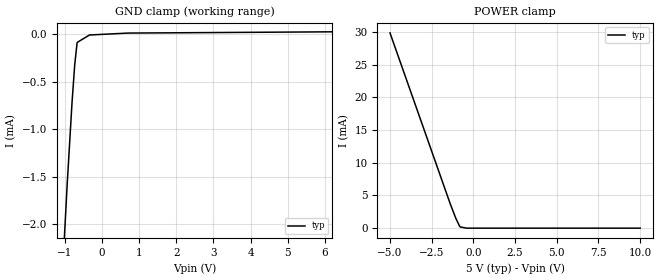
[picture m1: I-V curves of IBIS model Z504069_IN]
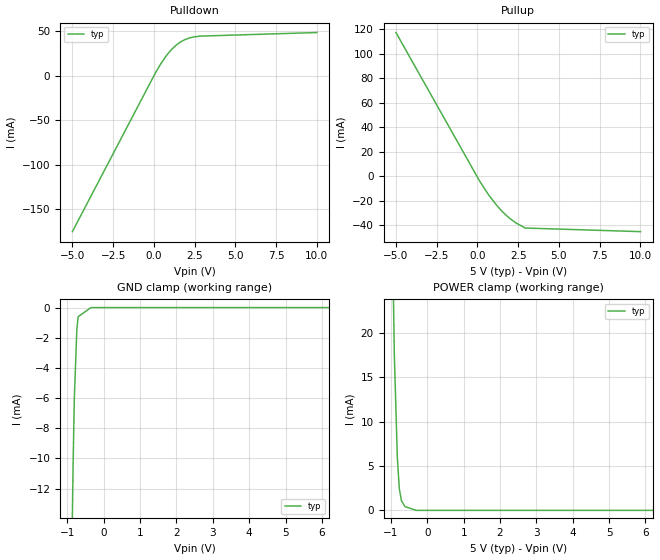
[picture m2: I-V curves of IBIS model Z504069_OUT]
| YOU ARE ONLY AUTHORIZED TO USE THIS SOFTWARE
| ACCORDING TO LICENSOR'S LICENSE RESTRICTIONS.
[IBIS Ver] 3.1
[File Name] mc54hc161aj.ibs
[File Rev] 2.0
[Source] Measured and created by ICX Technology
[Date] Friday 7/14/00 9:08:06 AM
[Copyright]
| (C) COPYRIGHT 1993-2000
| MENTOR GRAPHICS CORPORATION
| ICX STANDARD LIBRARY, ICX PROJECT MODELING,
| ICX CUSTOM MODELING, ICX VENDOR MODEL
| ALL RIGHTS RESERVED.
| THE FOLLOWING ARE TRADEMARKS OR SERVICE MARKS OF
| MENTOR GRAPHICS CORPORATION:ICX (R), ICX STANDARD
| LIBRARY(R), ICX PROJECT MODELING(R), ICX CUSTOM
| MODELING(R), qualityIBIS(TM), MODELVIEWER(TM),
| AND MODELEDITOR(TM)
| ALL COPIES OF SOFTWARE, INCLUDING BUT NOT LIMITED TO
| ANY MODIFICATIONS, ENHANCEMENTS OR DERIVATIVE WORKS,
| MUST CONTAIN ALL MENTOR GRAPHICS CORPORATION'S
| NOTICES AND LEGENDS, INCLUDING THOSE EMBEDDED IN
| SOFTWARE AND THOSE AFFIXED TO SOFTWARE MEDIUM
| AND CONTAINER, AS RECEIVED FROM MENTOR GRAPHICS
| CORPORATION.
|  ZAP Model Builder 2.7
[Component] MC54HC161AJ
[Manufacturer] OnSemiconductor
[Package]
| variable   typ   min   max
R_pkg  .212ohms NA NA
L_pkg  4.758nH NA NA
C_pkg  1.944pF NA NA
[Pin] signal_name  model_name  R_pin  L_pin C_pin
1 _CLR Z504069_IN .224 7.258n 2.683p
2 CLK Z504069_IN .216 5.258n 2.19p
3 A Z504069_IN .208 3.758n 1.697p
4 B Z504069_IN .2 2.758n 1.204p
5 C Z504069_IN .2 2.758n 1.204p
6 D Z504069_IN .208 3.758n 1.697p
7 ENP Z504069_IN .216 5.258n 2.19p
8 GND GND .224 7.258n 2.683p
9 _LOAD Z504069_IN .224 7.258n 2.683p
10 ENT Z504069_IN .216 5.258n 2.19p
11 QD Z504069_OUT .208 3.758n 1.697p
12 QC Z504069_OUT .2 2.758n 1.204p
13 QB Z504069_OUT .2 2.758n 1.204p
14 QA Z504069_OUT .208 3.758n 1.697p
15 RCO Z504069_OUT .216 5.258n 2.19p
16 VCC POWER .224 7.258n 2.683p
| Models and submodels in the file (2): Z504069_IN (Input), Z504069_OUT (Output)
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| (C) COPYRIGHT 1993-2000
| MENTOR GRAPHICS CORPORATION
| ICX STANDARD LIBRARY, ICX PROJECT MODELING,
| ICX CUSTOM MODELING, ICX VENDOR MODEL
| ALL RIGHTS RESERVED.
| THE FOLLOWING ARE TRADEMARKS OR SERVICE MARKS OF
| MENTOR GRAPHICS CORPORATION:ICX (R), ICX STANDARD
| LIBRARY(R), ICX PROJECT MODELING(R), ICX CUSTOM
| MODELING(R), qualityIBIS(TM), MODELVIEWER(TM),
| AND MODELEDITOR(TM)
| ALL COPIES OF SOFTWARE, INCLUDING BUT NOT LIMITED TO
| ANY MODIFICATIONS, ENHANCEMENTS OR DERIVATIVE WORKS,
| MUST CONTAIN ALL MENTOR GRAPHICS CORPORATION'S
| NOTICES AND LEGENDS, INCLUDING THOSE EMBEDDED IN
| SOFTWARE AND THOSE AFFIXED TO SOFTWARE MEDIUM
| AND CONTAINER, AS RECEIVED FROM MENTOR GRAPHICS
| CORPORATION.
| Model Application Version 1.89 2/18/99.
[Model] Z504069_IN
Model_type Input
Vinl = 1.000V
Vinh = 3.500V
C_comp 4.000pF NA NA
| variable typ   min   max
[Voltage Range] 5.000V NA NA
[GND Clamp Reference] 0.000V NA NA
[POWER Clamp Reference] 5.000V NA NA
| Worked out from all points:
|   GND clamp passes 1 mA (typ) near -0.84 V on its own axis
|   POWER clamp passes 1 mA (typ) near -0.96 V on its own axis
[GND Clamp]
-5V       -33.33mA   NA         NA
-1.323V   -4.5mA     NA         NA
-932.5mV  -1.589mA   NA         NA
-800.7mV  -715.4uA   NA         NA
-727.5mV  -314.7uA   NA         NA
-664.1mV  -85.23uA   NA         NA
-332mV    -6.189uA   NA         NA
705.4mV   14.03uA    NA         NA
10V       36.41uA    NA         NA
[POWER Clamp]
-5V       29.85mA    NA         NA
-1.392V   3.746mA    NA         NA
-1.055V   1.516mA    NA         NA
-845mV    393.8uA    NA         NA
-789mV    183.8uA    NA         NA
-394.5mV  0A         NA         NA
10V       0A         NA         NA
| (C) COPYRIGHT 1993-2000
| MENTOR GRAPHICS CORPORATION
| ICX STANDARD LIBRARY, ICX PROJECT MODELING,
| ICX CUSTOM MODELING, ICX VENDOR MODEL
| ALL RIGHTS RESERVED.
| THE FOLLOWING ARE TRADEMARKS OR SERVICE MARKS OF
| MENTOR GRAPHICS CORPORATION:ICX (R), ICX STANDARD
| LIBRARY(R), ICX PROJECT MODELING(R), ICX CUSTOM
| MODELING(R), qualityIBIS(TM), MODELVIEWER(TM),
| AND MODELEDITOR(TM)
| ALL COPIES OF SOFTWARE, INCLUDING BUT NOT LIMITED TO
| ANY MODIFICATIONS, ENHANCEMENTS OR DERIVATIVE WORKS,
| MUST CONTAIN ALL MENTOR GRAPHICS CORPORATION'S
| NOTICES AND LEGENDS, INCLUDING THOSE EMBEDDED IN
| SOFTWARE AND THOSE AFFIXED TO SOFTWARE MEDIUM
| AND CONTAINER, AS RECEIVED FROM MENTOR GRAPHICS
| CORPORATION.
| Model Application Version 1.89 2/18/99.
[Model] Z504069_OUT
Model_type Output
Vref=0.000V
Rref=500.0Mohms
Cref=50.00pF
Vmeas=2.500V
C_comp 8.000pF NA NA
| variable typ   min   max
[Voltage Range] 5.000V NA NA
[POWER Clamp Reference] 5.000V NA NA
[Pullup Reference] 5.000V NA NA
[Pulldown Reference] 0.000V NA NA
[GND Clamp Reference] 0.000V NA NA
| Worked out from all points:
|   slope of the pulldown table from 0 to 0.75 V, typ, clamps not added: 33.6 ohm
|   slope of the pullup table from 0 to 0.75 V, typ, clamps not added: 48.4 ohm
|   GND clamp passes 1 mA (typ) near -0.72 V on its own axis
|   POWER clamp passes 1 mA (typ) near -0.70 V on its own axis
[GND Clamp]
-5V       -705.3mA   NA         NA
-843.1mV  -10.34mA   NA         NA
-810.5mV  -6.056mA   NA         NA
-740.2mV  -1.405mA   NA         NA
-703mV    -601.3uA   NA         NA
-351.5mV  0A         NA         NA
10V       0A         NA         NA
[Pulldown]
-5V       -175.6mA   NA         NA
102.7mV   3.564mA    NA         NA
762.7mV   22.61mA    NA         NA
1.113V    30.16mA    NA         NA
1.388V    34.84mA    NA         NA
1.918V    40.83mA    NA         NA
2.217V    42.86mA    NA         NA
2.77V     44.64mA    NA         NA
10V       48.71mA    NA         NA
[Pullup]
-5V       117.3mA    NA         NA
122mV     -3.569mA   NA         NA
665mV     -14.72mA   NA         NA
1.196V    -23.88mA   NA         NA
1.489V    -28.21mA   NA         NA
1.748V    -31.55mA   NA         NA
2.021V    -34.65mA   NA         NA
2.315V    -37.52mA   NA         NA
2.456V    -38.66mA   NA         NA
2.93V     -42.12mA   NA         NA
10V       -45.07mA   NA         NA
[POWER Clamp]
-5V       1.113A     NA         NA
-908mV    17.59mA    NA         NA
-825mV    5.914mA    NA         NA
-771mV    2.449mA    NA         NA
-712mV    1.091mA    NA         NA
-616mV    427.6uA    NA         NA
-308mV    0A         NA         NA
10V       0A         NA         NA
[Ramp]
| variable typ min max
dV/dt_r 2.761/784.5p NA NA
dV/dt_f 2.761/1.229n NA NA
R_load = 500.0Ohms
